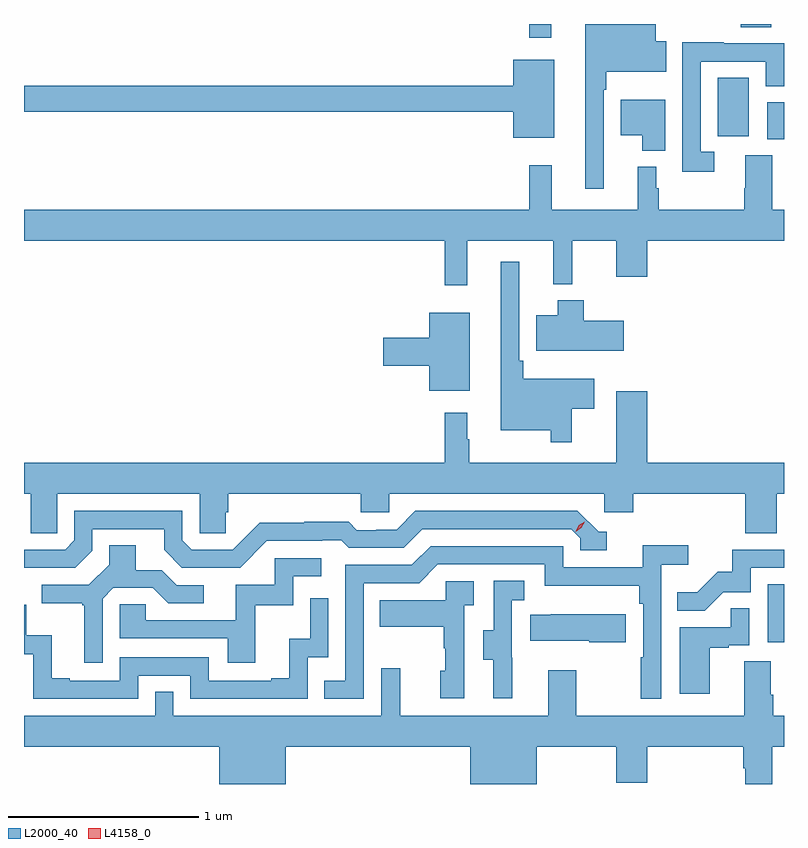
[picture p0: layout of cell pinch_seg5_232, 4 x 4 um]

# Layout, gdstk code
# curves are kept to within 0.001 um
import gdstk
lib = gdstk.Library(unit=1e-6, precision=1e-09)
def R(c, l, rs):  # rectangles x0, y0, x1, y1
    for r in rs: c.add(gdstk.rectangle(r[:2], r[2:], *l))
def P(c, l, *ps):  # polygons
    for p in ps: c.add(gdstk.Polygon(p, *l))
L2000_40 = (2000, 40)
L4158_0 = (4158, 0)

pinch_seg5_232 = lib.new_cell('pinch_seg5_232')
R(pinch_seg5_232, L2000_40, [(957.014,899.934,957.1,900.241), (957.012,902.583,957.1,902.777), (956.75,902.598,956.914,902.905), (955.759,903.117,955.876,903.189), (956.872,903.172,957.032,903.189)])
P(pinch_seg5_232, L2000_40, [(956.151,902.843),(956.164,902.843),(956.164,902.939),(956.479,902.939),(956.479,903.097),(956.425,903.097),(956.425,903.189),(956.054,903.189),(956.054,902.322),(956.151,902.322)],
  [(956.734,902.517),(956.661,902.517),(956.661,902.991),(957.003,902.991),(957.003,902.862),(957.1,902.862),(957.1,903.087),(956.783,903.087),(956.783,903.092),(956.565,903.092),(956.565,902.412),(956.734,902.412)],
  [(955.891,903.001),(955.676,903.001),(955.676,902.864),(953.1,902.864),(953.1,902.728),(955.676,902.728),(955.676,902.591),(955.891,902.591)],
  [(956.476,902.791),(956.24,902.791),(956.24,902.603),(956.354,902.603),(956.354,902.522),(956.476,902.522)],
  [(955.433,902.048),(955.886,902.048),(955.886,901.82),(955.986,901.82),(955.986,902.048),(956.216,902.048),(956.216,901.86),(956.38,901.86),(956.38,902.048),(957.1,902.048),(957.1,902.212),(957.037,902.212),(957.037,902.498),(956.897,902.498),(956.897,902.324),(956.89,902.324),(956.89,902.212),(956.44,902.212),(956.44,902.324),(956.428,902.324),(956.428,902.437),(956.33,902.437),(956.33,902.212),(955.877,902.212),(955.877,902.446),(955.759,902.446),(955.759,902.212),(953.1,902.212),(953.1,902.048),(955.315,902.048),(955.315,901.815),(955.433,901.815)],
  [(955.983,901.163),(956.101,901.163),(956.101,901.321),(955.727,901.321),(955.727,901.417),(955.707,901.417),(955.707,901.939),(955.61,901.939),(955.61,901.052),(955.872,901.052),(955.872,900.987),(955.983,900.987)],
  [(956.257,901.627),(956.045,901.627),(956.045,901.735),(955.91,901.735),(955.91,901.657),(955.796,901.657),(955.796,901.469),(956.257,901.469)],
  [(955.447,901.669),(955.232,901.669),(955.232,901.538),(954.99,901.538),(954.99,901.391),(955.232,901.391),(955.232,901.259),(955.447,901.259)],
  [(953.274,900.716),(954.024,900.716),(954.024,900.508),(954.161,900.508),(954.161,900.618),(954.176,900.618),(954.176,900.716),(954.873,900.716),(954.873,900.618),(955.023,900.618),(955.023,900.716),(956.154,900.716),(956.154,900.618),(956.306,900.618),(956.306,900.716),(956.897,900.716),(956.897,900.508),(957.062,900.508),(957.062,900.716),(957.1,900.716),(957.1,900.88),(956.38,900.88),(956.38,901.255),(956.216,901.255),(956.216,900.88),(955.444,900.88),(955.444,901.004),(955.432,901.004),(955.432,901.144),(955.315,901.144),(955.315,900.88),(953.1,900.88),(953.1,900.716),(953.135,900.716),(953.135,900.508),(953.274,900.508)],
  [(953.154,900.327),(953.37,900.327),(953.46,900.417),(953.46,900.531),(953.837,900.531),(953.837,900.421),(953.931,900.327),(954.237,900.327),(954.378,900.468),(954.671,900.468),(954.671,900.471),(954.77,900.471),(954.809,900.432),(955.098,900.432),(955.197,900.531),(955.98,900.531),(956.028,900.483),(956.028,900.42),(956.167,900.42),(956.167,900.516),(956.124,900.516),(956.013,900.627),(955.16,900.627),(955.061,900.528),(954.954,900.528),(954.954,900.525),(954.851,900.525),(954.809,900.568),(954.576,900.568),(954.576,900.565),(954.34,900.565),(954.198,900.423),(953.982,900.423),(953.934,900.471),(953.934,900.627),(953.364,900.627),(953.364,900.471),(953.316,900.423),(953.1,900.423),(953.1,900.326)],
  [(954.888,900.246),(955.179,900.246),(955.278,900.345),(955.842,900.345),(955.842,900.233),(956.338,900.233),(956.338,900.137),(956.358,900.137),(956.358,899.855),(956.346,899.855),(956.346,899.637),(956.454,899.637),(956.454,900.344),(956.596,900.344),(956.596,900.446),(956.357,900.446),(956.357,900.33),(955.938,900.33),(955.938,900.441),(955.241,900.441),(955.142,900.342),(954.792,900.342),(954.792,899.733),(954.679,899.733),(954.679,899.637),(954.888,899.637)],
  [(953.514,900.165),(953.571,900.222),(953.777,900.222),(953.858,900.141),(954.046,900.141),(954.046,900.234),(953.904,900.234),(953.824,900.314),(953.689,900.314),(953.689,900.446),(953.549,900.446),(953.549,900.344),(953.442,900.237),(953.193,900.237),(953.193,900.14),(953.406,900.14),(953.406,900.129),(953.417,900.129),(953.417,899.826),(953.514,899.826)],
  [(956.781,900.198),(956.925,900.198),(956.925,900.327),(957.1,900.327),(957.1,900.423),(956.827,900.423),(956.827,900.306),(956.75,900.306),(956.643,900.199),(956.539,900.199),(956.539,900.1),(956.683,900.1)],
  [(954.317,900.129),(954.516,900.129),(954.516,900.282),(954.664,900.282),(954.664,900.378),(954.42,900.378),(954.42,900.237),(954.215,900.237),(954.215,900.051),(953.741,900.051),(953.741,900.135),(953.604,900.135),(953.604,899.955),(954.173,899.955),(954.173,899.826),(954.317,899.826)],
  [(955.67,899.853),(955.668,899.853),(955.668,900.157),(955.732,900.157),(955.732,900.26),(955.572,900.26),(955.572,899.997),(955.517,899.997),(955.517,899.842),(955.571,899.842),(955.571,899.64),(955.67,899.64)],
  [(955.416,900.131),(955.468,900.131),(955.468,900.255),(955.32,900.255),(955.32,900.157),(954.973,900.157),(954.973,900.017),(955.308,900.017),(955.308,899.903),(955.318,899.903),(955.318,899.784),(955.292,899.784),(955.292,899.64),(955.416,899.64)],
  [(953.7,899.76),(953.976,899.76),(953.976,899.637),(954.594,899.637),(954.594,899.856),(954.702,899.856),(954.702,900.166),(954.606,900.166),(954.606,899.954),(954.497,899.954),(954.497,899.746),(954.401,899.746),(954.401,899.733),(954.072,899.733),(954.072,899.856),(953.604,899.856),(953.604,899.733),(953.341,899.733),(953.341,899.746),(953.245,899.746),(953.245,899.971),(953.112,899.971),(953.112,900.132),(953.1,900.132),(953.1,899.873),(953.148,899.873),(953.148,899.637),(953.7,899.637)],
  [(956.71,899.907),(956.81,899.907),(956.81,899.919),(956.916,899.919),(956.916,900.113),(956.821,900.113),(956.821,900.015),(956.552,900.015),(956.552,899.664),(956.71,899.664)],
  [(956.266,900.082),(955.873,900.082),(955.873,900.079),(955.765,900.079),(955.765,899.942),(956.075,899.942),(956.075,899.935),(956.266,899.935)],
  [(954.478,899.384),(955.448,899.384),(955.448,899.189),(955.798,899.189),(955.798,899.384),(956.216,899.384),(956.216,899.196),(956.38,899.196),(956.38,899.384),(956.885,899.384),(956.885,899.272),(956.897,899.272),(956.897,899.189),(957.037,899.189),(957.037,899.384),(957.1,899.384),(957.1,899.548),(957.044,899.548),(957.044,899.66),(957.031,899.66),(957.031,899.834),(956.891,899.834),(956.891,899.548),(956.007,899.548),(956.007,899.788),(955.859,899.788),(955.859,899.548),(955.079,899.548),(955.079,899.797),(954.981,899.797),(954.981,899.548),(953.886,899.548),(953.886,899.675),(953.79,899.675),(953.79,899.548),(953.1,899.548),(953.1,899.384),(954.128,899.384),(954.128,899.189),(954.478,899.189)])
P(pinch_seg5_232, L4158_0, [(956.003,900.517),(956.003,900.518),(956.019,900.55),(956.05,900.57),(956.05,900.57),(956.05,900.57),(956.034,900.537),(956.004,900.517)])

lib.write_gds('pinch_seg5_232.gds')
